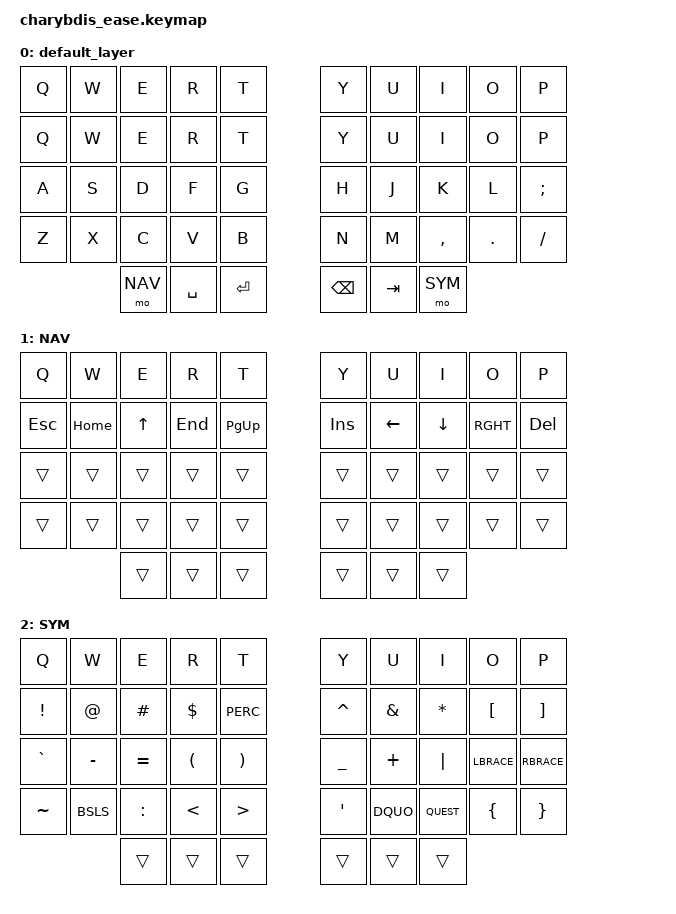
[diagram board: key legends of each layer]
/ {
  keymap {
    compatible = "zmk,keymap";

    default_layer {
      bindings = <
        &kp Q   &kp W   &kp E   &kp R   &kp T            &kp Y   &kp U   &kp I     &kp O     &kp P
        &kp Q   &kp W   &kp E   &kp R   &kp T            &kp Y   &kp U   &kp I     &kp O     &kp P
        &kp A   &kp S   &kp D   &kp F   &kp G            &kp H   &kp J   &kp K     &kp L     &kp SCLN
        &kp Z   &kp X   &kp C   &kp V   &kp B            &kp N   &kp M   &kp COMMA &kp DOT   &kp SLASH
                              &mo NAV  &kp SPACE &kp ENTER    &kp BSPC &kp TAB   &mo SYM
      >;
    };

    nav_layer {
      label = "NAV";
      bindings = <
        &kp Q   &kp W   &kp E   &kp R   &kp T            &kp Y   &kp U   &kp I     &kp O     &kp P
        &kp ESC  &kp HOME &kp UP   &kp END  &kp PG_UP     &kp INS  &kp LEFT &kp DOWN &kp RGHT &kp DEL
        &trans   &trans   &trans   &trans   &trans        &trans   &trans   &trans   &trans   &trans
        &trans   &trans   &trans   &trans   &trans        &trans   &trans   &trans   &trans   &trans
                               &trans     &trans     &trans      &trans     &trans    &trans
      >;
    };

    sym_layer {
      label = "SYM";
      bindings = <
        &kp Q   &kp W   &kp E   &kp R   &kp T            &kp Y   &kp U   &kp I     &kp O     &kp P
        &kp EXCL &kp AT   &kp HASH &kp DLLR &kp PERC      &kp CARET &kp AMPS &kp STAR &kp LBKT  &kp RBKT
        &kp GRAVE &kp MINUS &kp EQUAL &kp LPAR &kp RPAR   &kp UNDER &kp PLUS &kp PIPE &kp LBRACE &kp RBRACE
        &kp TILDE &kp BSLS  &kp COLON &kp LT   &kp GT     &kp QUOT  &kp DQUO &kp QUEST &kp LBRC  &kp RBRC
                               &trans   &trans   &trans      &trans    &trans    &trans
      >;
    };
  };
};
